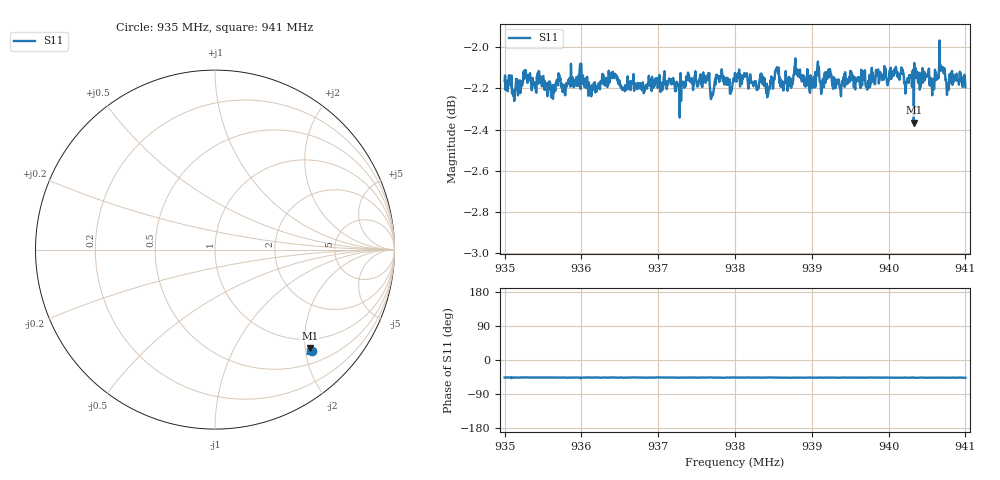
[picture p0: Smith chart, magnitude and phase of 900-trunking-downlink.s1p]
! Calibrated averaged scanner-service zoom
# Hz S RI R 50
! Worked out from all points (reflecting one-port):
!   1001 points, 935 MHz to 941 MHz, reference 50 ohm
!   lowest |S11| = -2.4 dB at 940.328 MHz (marker M1), VSWR 7.39, Z = 40.1 - j105 ohm
!   phase of S11 starts at -46 deg and turns -0 deg over the sweep
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9.35e8  0.5377 -0.5644
9.35114e8  0.5328 -0.56
9.35258e8  0.5419 -0.5618
9.3575e8  0.5361 -0.564
9.35996e8  0.5385 -0.5741
9.36086e8  0.54 -0.5605
9.3623e8  0.5366 -0.5636
9.3641e8  0.5433 -0.5645
9.365e8  0.5385 -0.5616
9.36686e8  0.5388 -0.5573
9.36836e8  0.5341 -0.5638
9.36992e8  0.5395 -0.5584
9.3725e8  0.5371 -0.5628
9.37502e8  0.5361 -0.5654
9.37694e8  0.5356 -0.5593
9.37832e8  0.5371 -0.5701
9.38e8  0.5444 -0.5628
9.3836e8  0.5364 -0.5636
9.38438e8  0.5388 -0.5586
9.38552e8  0.5416 -0.5688
9.3875e8  0.5339 -0.566
9.395e8  0.5386 -0.5696
9.4025e8  0.5339 -0.5693
9.40328e8  0.5281 -0.5486
9.40562e8  0.5373 -0.5647
9.40688e8  0.5408 -0.5695
9.40766e8  0.5317 -0.5652
9.41e8  0.5315 -0.5665
